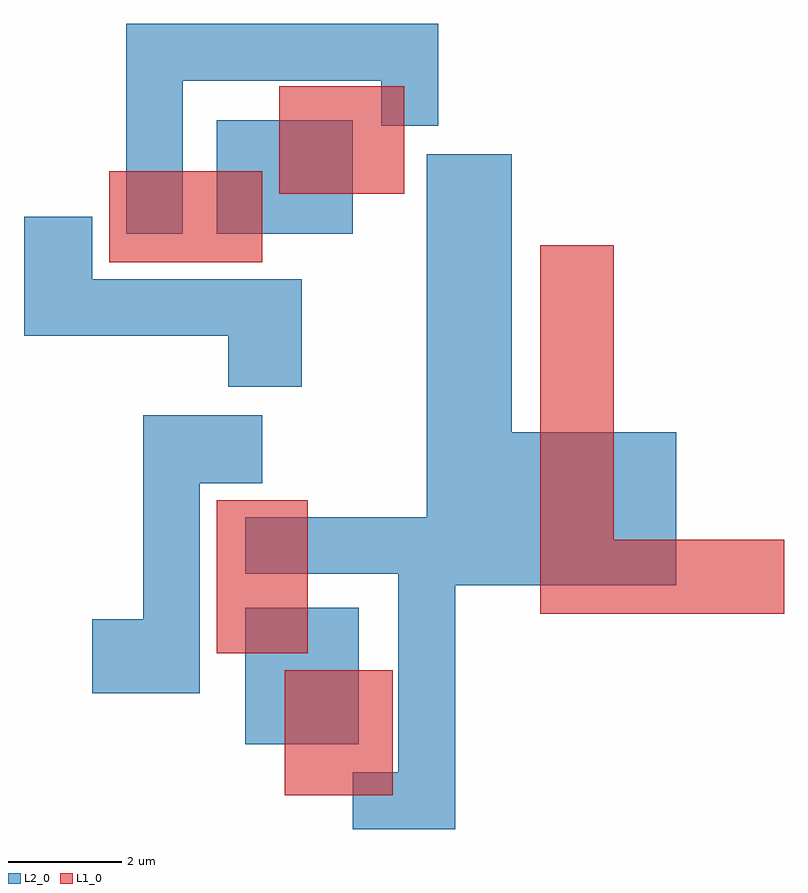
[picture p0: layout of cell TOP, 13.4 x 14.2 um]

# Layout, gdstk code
from math import pi, radians
import gdstk
lib = gdstk.Library(unit=1e-6, precision=1e-09)
def R(c, l, rs):  # rectangles x0, y0, x1, y1
    for r in rs: c.add(gdstk.rectangle(r[:2], r[2:], *l))
def P(c, l, *ps):  # polygons
    for p in ps: c.add(gdstk.Polygon(p, *l))
L1_0 = (1, 0)
L2_0 = (2, 0)

c_a = lib.new_cell('A')
R(c_a, L1_0, [(0.4,0.8,2.6,2.7), (2.9,2.3,5.6,3.9)])
R(c_a, L2_0, [(1.3,1.4,3.7,3.4), (5.9,3.1,7.1,5.2)])
P(c_a, L2_0, [(2.2,4.2),(2.2,6.1),(3.5,6.1),(3.5,5.2),(5.9,5.2),(5.9,4.2)])
c_a.add(gdstk.FlexPath([(4.8,3.4),(4.8,0.2),(0.3,0.2),(0.3,1.5)], 1, ends="flush", simple_path=True, layer=2, datatype=0))  # L2_0

top = lib.new_cell('TOP')
P(top, L1_0, [(8.4,4.1),(8.4,10.6),(9.7,10.6),(9.7,5.4),(12.7,5.4),(12.7,4.1)])
R(top, L2_0, [(6.6,4.6,10.8,5.8)])
P(top, L2_0, [(6.4,5.8),(6.4,12.2),(7.9,12.2),(7.9,7.3),(10.8,7.3),(10.8,5.8)])
top.add(gdstk.Reference(c_a, (6.6,0.5), rotation=pi/2))
top.add(gdstk.Reference(c_a, (6.4,14.2), rotation=pi))

lib.write_gds('TOP.gds')
